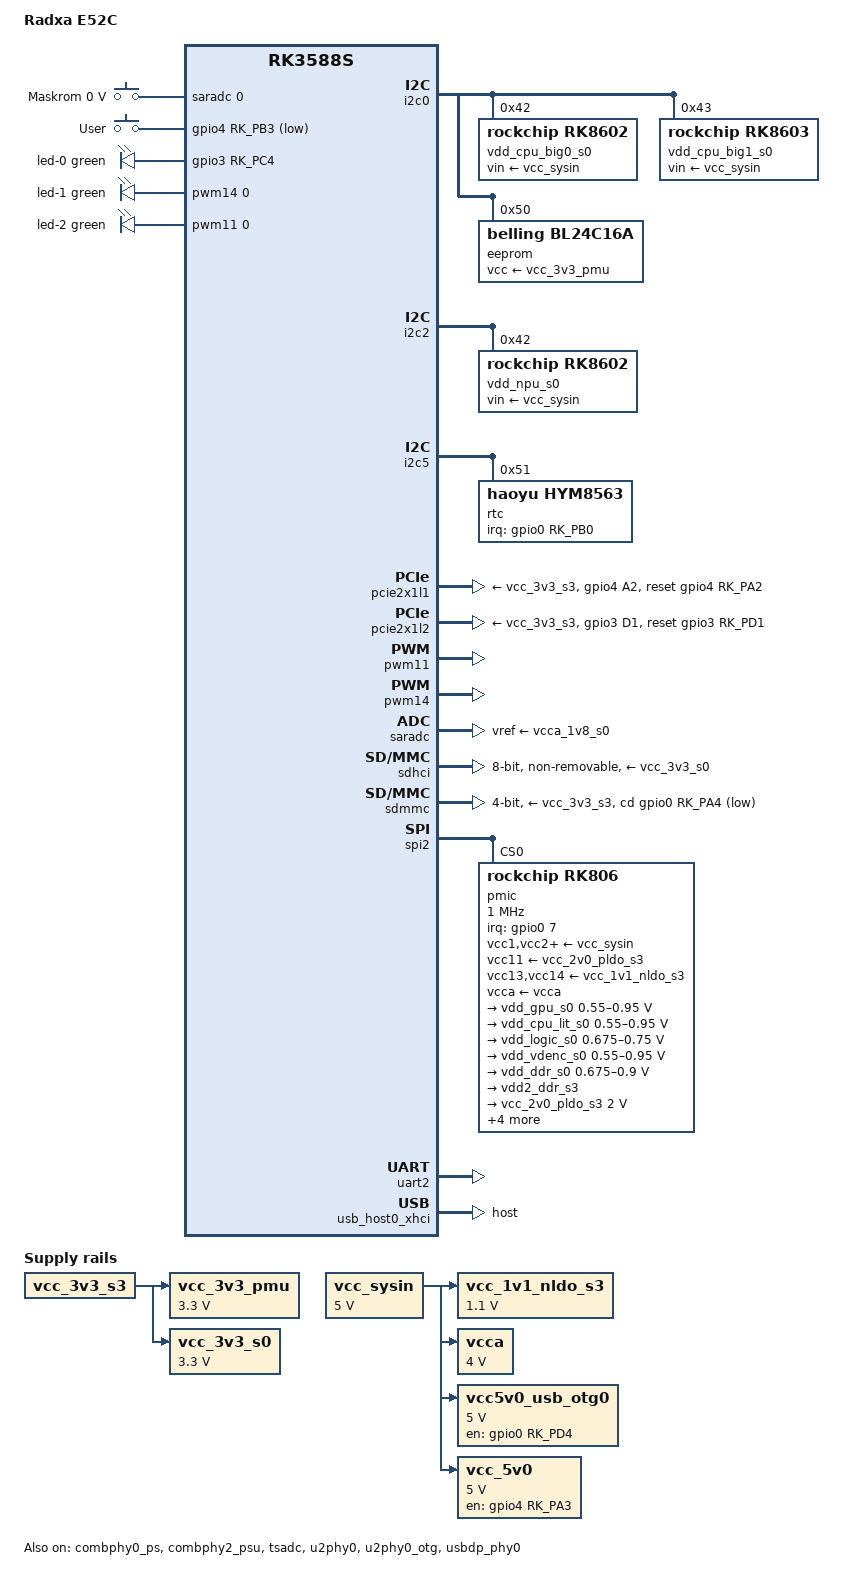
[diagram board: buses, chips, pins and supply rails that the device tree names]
// SPDX-License-Identifier: (GPL-2.0+ OR MIT)
/*
 * Copyright (c) 2024 Radxa Computer (Shenzhen) Co., Ltd.
 */

/dts-v1/;

#include <dt-bindings/gpio/gpio.h>
#include <dt-bindings/input/input.h>
#include <dt-bindings/leds/common.h>
#include <dt-bindings/pinctrl/rockchip.h>
#include <dt-bindings/pwm/pwm.h>
#include "rk3588s.dtsi"

/ {
	model = "Radxa E52C";
	compatible = "radxa,e52c", "rockchip,rk3582", "rockchip,rk3588s";

	aliases {
		mmc0 = &sdhci;
		mmc1 = &sdmmc;
	};

	chosen {
		stdout-path = "serial2:1500000n8";
	};

	keys-0 {
		compatible = "adc-keys";
		io-channels = <&saradc 0>;
		io-channel-names = "buttons";
		keyup-threshold-microvolt = <18000>;
		poll-interval = <100>;

		button-0 {
			label = "Maskrom";
			linux,code = <KEY_VENDOR>;
			press-threshold-microvolt = <0>;
		};
	};

	keys-1 {
		compatible = "gpio-keys";
		pinctrl-names = "default";
		pinctrl-0 = <&btn_0>;

		button-1 {
			label = "User";
			gpios = <&gpio4 RK_PB3 GPIO_ACTIVE_LOW>;
			linux,code = <BTN_0>;
			wakeup-source;
		};
	};

	leds-0 {
		compatible = "gpio-leds";
		pinctrl-names = "default";
		pinctrl-0 = <&led_0>;

		led-0 {
			color = <LED_COLOR_ID_GREEN>;
			default-state = "on";
			function = LED_FUNCTION_STATUS;
			gpios = <&gpio3 RK_PC4 GPIO_ACTIVE_HIGH>;
			linux,default-trigger = "heartbeat";
		};
	};

	leds-1 {
		compatible = "pwm-leds";

		led-1 {
			color = <LED_COLOR_ID_GREEN>;
			default-state = "on";
			function = LED_FUNCTION_LAN;
			linux,default-trigger = "netdev";
			pwms = <&pwm14 0 1000000 PWM_POLARITY_INVERTED>;
			max-brightness = <255>;
		};

		led-2 {
			color = <LED_COLOR_ID_GREEN>;
			default-state = "on";
			function = LED_FUNCTION_WAN;
			linux,default-trigger = "netdev";
			pwms = <&pwm11 0 1000000 PWM_POLARITY_INVERTED>;
			max-brightness = <255>;
		};
	};

	vcc_1v1_nldo_s3: regulator-1v1 {
		compatible = "regulator-fixed";
		regulator-name = "vcc_1v1_nldo_s3";
		regulator-always-on;
		regulator-boot-on;
		regulator-min-microvolt = <1100000>;
		regulator-max-microvolt = <1100000>;
		vin-supply = <&vcc_sysin>;
	};

	vcc_3v3_pmu: regulator-3v3-0 {
		compatible = "regulator-fixed";
		regulator-name = "vcc_3v3_pmu";
		regulator-always-on;
		regulator-boot-on;
		regulator-min-microvolt = <3300000>;
		regulator-max-microvolt = <3300000>;
		vin-supply = <&vcc_3v3_s3>;
	};

	vcc_3v3_s0: regulator-3v3-1 {
		compatible = "regulator-fixed";
		regulator-name = "vcc_3v3_s0";
		regulator-always-on;
		regulator-boot-on;
		regulator-min-microvolt = <3300000>;
		regulator-max-microvolt = <3300000>;
		vin-supply = <&vcc_3v3_s3>;
	};

	vcca: regulator-4v0 {
		compatible = "regulator-fixed";
		regulator-name = "vcca";
		regulator-always-on;
		regulator-boot-on;
		regulator-min-microvolt = <4000000>;
		regulator-max-microvolt = <4000000>;
		vin-supply = <&vcc_sysin>;
	};

	vcc5v0_usb_otg0: regulator-5v0-0 {
		compatible = "regulator-fixed";
		enable-active-high;
		gpio = <&gpio0 RK_PD4 GPIO_ACTIVE_HIGH>;
		pinctrl-names = "default";
		pinctrl-0 = <&usb_otg_pwren_h>;
		regulator-name = "vcc5v0_usb_otg0";
		regulator-min-microvolt = <5000000>;
		regulator-max-microvolt = <5000000>;
		vin-supply = <&vcc_sysin>;
	};

	vcc_5v0: regulator-5v0-1 {
		compatible = "regulator-fixed";
		enable-active-high;
		gpio = <&gpio4 RK_PA3 GPIO_ACTIVE_HIGH>;
		pinctrl-names = "default";
		pinctrl-0 = <&vcc_5v0_pwren_h>;
		regulator-name = "vcc_5v0";
		regulator-min-microvolt = <5000000>;
		regulator-max-microvolt = <5000000>;
		vin-supply = <&vcc_sysin>;
	};

	vcc_sysin: regulator-5v0-2 {
		compatible = "regulator-fixed";
		regulator-name = "vcc_sysin";
		regulator-always-on;
		regulator-boot-on;
		regulator-min-microvolt = <5000000>;
		regulator-max-microvolt = <5000000>;
	};
};

&combphy0_ps {
	status = "okay";
};

&combphy2_psu {
	status = "okay";
};

/*
 * In the Rockchip RK3582 SoC, some CPU cores end up disabled
 * and unused because they're marked in the efuses as defective.
 * The disabling in the DT is performed by the boot loader.
 */
&cpu_b0 {
	cpu-supply = <&vdd_cpu_big0_s0>;
};

&cpu_b1 {
	cpu-supply = <&vdd_cpu_big0_s0>;
};

&cpu_b2 {
	cpu-supply = <&vdd_cpu_big1_s0>;
};

&cpu_b3 {
	cpu-supply = <&vdd_cpu_big1_s0>;
};

&cpu_l0 {
	cpu-supply = <&vdd_cpu_lit_s0>;
};

&cpu_l1 {
	cpu-supply = <&vdd_cpu_lit_s0>;
};

&cpu_l2 {
	cpu-supply = <&vdd_cpu_lit_s0>;
};

&cpu_l3 {
	cpu-supply = <&vdd_cpu_lit_s0>;
};

&i2c0 {
	pinctrl-names = "default";
	pinctrl-0 = <&i2c0m2_xfer>;
	status = "okay";

	vdd_cpu_big0_s0: regulator@42 {
		compatible = "rockchip,rk8602";
		reg = <0x42>;
		fcs,suspend-voltage-selector = <1>;
		regulator-name = "vdd_cpu_big0_s0";
		regulator-always-on;
		regulator-boot-on;
		regulator-min-microvolt = <550000>;
		regulator-max-microvolt = <1050000>;
		regulator-ramp-delay = <2300>;
		vin-supply = <&vcc_sysin>;

		regulator-state-mem {
			regulator-off-in-suspend;
		};
	};

	vdd_cpu_big1_s0: regulator@43 {
		compatible = "rockchip,rk8603", "rockchip,rk8602";
		reg = <0x43>;
		fcs,suspend-voltage-selector = <1>;
		regulator-name = "vdd_cpu_big1_s0";
		regulator-always-on;
		regulator-boot-on;
		regulator-min-microvolt = <550000>;
		regulator-max-microvolt = <1050000>;
		regulator-ramp-delay = <2300>;
		vin-supply = <&vcc_sysin>;

		regulator-state-mem {
			regulator-off-in-suspend;
		};
	};

	eeprom@50 {
		compatible = "belling,bl24c16a", "atmel,24c16";
		reg = <0x50>;
		pagesize = <16>;
		vcc-supply = <&vcc_3v3_pmu>;
	};
};

&i2c2 {
	status = "okay";

	vdd_npu_s0: regulator@42 {
		compatible = "rockchip,rk8602";
		reg = <0x42>;
		fcs,suspend-voltage-selector = <1>;
		regulator-name = "vdd_npu_s0";
		regulator-always-on;
		regulator-boot-on;
		regulator-min-microvolt = <550000>;
		regulator-max-microvolt = <950000>;
		regulator-ramp-delay = <2300>;
		vin-supply = <&vcc_sysin>;

		regulator-state-mem {
			regulator-off-in-suspend;
		};
	};
};

&i2c5 {
	pinctrl-names = "default";
	pinctrl-0 = <&i2c5m2_xfer>;
	status = "okay";

	rtc@51 {
		compatible = "haoyu,hym8563";
		reg = <0x51>;
		#clock-cells = <0>;
		clock-output-names = "rtcic_32kout";
		interrupt-parent = <&gpio0>;
		interrupts = <RK_PB0 IRQ_TYPE_LEVEL_LOW>;
		pinctrl-names = "default";
		pinctrl-0 = <&rtc_int_l>;
		wakeup-source;
	};
};

&pcie2x1l1 {
	pinctrl-names = "default";
	pinctrl-0 = <&pcie20x1_1_perstn_m1>;
	reset-gpios = <&gpio4 RK_PA2 GPIO_ACTIVE_HIGH>;
	vpcie3v3-supply = <&vcc_3v3_s3>;
	status = "okay";
};

&pcie2x1l2 {
	pinctrl-names = "default";
	pinctrl-0 = <&pcie20x1_2_perstn_m0>;
	reset-gpios = <&gpio3 RK_PD1 GPIO_ACTIVE_HIGH>;
	vpcie3v3-supply = <&vcc_3v3_s3>;
	status = "okay";
};

&pinctrl {
	keys {
		btn_0: button-0 {
			rockchip,pins = <4 RK_PB3 RK_FUNC_GPIO &pcfg_pull_none>;
		};
	};

	leds {
		led_0: led-0 {
			rockchip,pins = <3 RK_PC4 RK_FUNC_GPIO &pcfg_pull_none>;
		};
	};

	pcie {
		pcie20x1_1_perstn_m1: pcie-1 {
			rockchip,pins = <4 RK_PA2 RK_FUNC_GPIO &pcfg_pull_none>;
		};

		pcie20x1_2_perstn_m0: pcie-2 {
			rockchip,pins = <3 RK_PD1 RK_FUNC_GPIO &pcfg_pull_none>;
		};
	};

	regulators {
		vcc_5v0_pwren_h: regulator-5v0-1 {
			rockchip,pins = <4 RK_PA3 RK_FUNC_GPIO &pcfg_pull_none>;
		};
	};

	rtc {
		rtc_int_l: rtc-0 {
			rockchip,pins = <0 RK_PB0 RK_FUNC_GPIO &pcfg_pull_none>;
		};
	};

	usb {
		usb_otg_pwren_h: regulator-5v0-0 {
			rockchip,pins = <0 RK_PD4 RK_FUNC_GPIO &pcfg_pull_none>;
		};
	};
};

&pwm11 {
	pinctrl-names = "default";
	pinctrl-0 = <&pwm11m1_pins>;
	status = "okay";
};

&pwm14 {
	pinctrl-names = "default";
	pinctrl-0 = <&pwm14m1_pins>;
	status = "okay";
};

&saradc {
	vref-supply = <&vcca_1v8_s0>;
	status = "okay";
};

&sdhci {
	bus-width = <8>;
	cap-mmc-highspeed;
	mmc-hs400-1_8v;
	mmc-hs400-enhanced-strobe;
	no-sd;
	no-sdio;
	non-removable;
	vmmc-supply = <&vcc_3v3_s0>;
	vqmmc-supply = <&vcc_1v8_s3>;
	status = "okay";
};

&sdmmc {
	bus-width = <4>;
	cap-mmc-highspeed;
	cap-sd-highspeed;
	cd-gpios = <&gpio0 RK_PA4 GPIO_ACTIVE_LOW>;
	disable-wp;
	no-sdio;
	sd-uhs-sdr104;
	vmmc-supply = <&vcc_3v3_s3>;
	vqmmc-supply = <&vccio_sd_s0>;
	status = "okay";
};

&spi2 {
	status = "okay";
	assigned-clocks = <&cru CLK_SPI2>;
	assigned-clock-rates = <200000000>;
	num-cs = <1>;
	pinctrl-names = "default";
	pinctrl-0 = <&spi2m2_cs0 &spi2m2_pins>;

	pmic@0 {
		compatible = "rockchip,rk806";
		reg = <0>;
		gpio-controller;
		#gpio-cells = <2>;
		interrupt-parent = <&gpio0>;
		interrupts = <7 IRQ_TYPE_LEVEL_LOW>;
		pinctrl-names = "default";
		pinctrl-0 = <&pmic_pins>, <&rk806_dvs1_null>,
			    <&rk806_dvs2_null>, <&rk806_dvs3_null>;
		spi-max-frequency = <1000000>;
		system-power-controller;

		vcc1-supply = <&vcc_sysin>;
		vcc2-supply = <&vcc_sysin>;
		vcc3-supply = <&vcc_sysin>;
		vcc4-supply = <&vcc_sysin>;
		vcc5-supply = <&vcc_sysin>;
		vcc6-supply = <&vcc_sysin>;
		vcc7-supply = <&vcc_sysin>;
		vcc8-supply = <&vcc_sysin>;
		vcc9-supply = <&vcc_sysin>;
		vcc10-supply = <&vcc_sysin>;
		vcc11-supply = <&vcc_2v0_pldo_s3>;
		vcc12-supply = <&vcc_sysin>;
		vcc13-supply = <&vcc_1v1_nldo_s3>;
		vcc14-supply = <&vcc_1v1_nldo_s3>;
		vcca-supply = <&vcca>;

		rk806_dvs1_null: dvs1-null-pins {
			pins = "gpio_pwrctrl1";
			function = "pin_fun0";
		};

		rk806_dvs2_null: dvs2-null-pins {
			pins = "gpio_pwrctrl2";
			function = "pin_fun0";
		};

		rk806_dvs3_null: dvs3-null-pins {
			pins = "gpio_pwrctrl3";
			function = "pin_fun0";
		};

		regulators {
			vdd_gpu_s0: dcdc-reg1 {
				regulator-name = "vdd_gpu_s0";
				regulator-boot-on;
				regulator-min-microvolt = <550000>;
				regulator-max-microvolt = <950000>;
				regulator-ramp-delay = <12500>;
				regulator-enable-ramp-delay = <400>;

				regulator-state-mem {
					regulator-off-in-suspend;
				};
			};

			vdd_cpu_lit_s0: dcdc-reg2 {
				regulator-name = "vdd_cpu_lit_s0";
				regulator-always-on;
				regulator-boot-on;
				regulator-min-microvolt = <550000>;
				regulator-max-microvolt = <950000>;
				regulator-ramp-delay = <12500>;

				regulator-state-mem {
					regulator-off-in-suspend;
				};
			};

			vdd_logic_s0: dcdc-reg3 {
				regulator-name = "vdd_logic_s0";
				regulator-always-on;
				regulator-boot-on;
				regulator-min-microvolt = <675000>;
				regulator-max-microvolt = <750000>;
				regulator-ramp-delay = <12500>;

				regulator-state-mem {
					regulator-on-in-suspend;
					regulator-suspend-microvolt = <750000>;
				};
			};

			vdd_vdenc_s0: dcdc-reg4 {
				regulator-name = "vdd_vdenc_s0";
				regulator-always-on;
				regulator-boot-on;
				regulator-min-microvolt = <550000>;
				regulator-max-microvolt = <950000>;
				regulator-ramp-delay = <12500>;

				regulator-state-mem {
					regulator-off-in-suspend;
				};
			};

			vdd_ddr_s0: dcdc-reg5 {
				regulator-name = "vdd_ddr_s0";
				regulator-always-on;
				regulator-boot-on;
				regulator-min-microvolt = <675000>;
				regulator-max-microvolt = <900000>;
				regulator-ramp-delay = <12500>;

				regulator-state-mem {
					regulator-off-in-suspend;
					regulator-suspend-microvolt = <850000>;
				};
			};

			vdd2_ddr_s3: dcdc-reg6 {
				regulator-name = "vdd2_ddr_s3";
				regulator-always-on;
				regulator-boot-on;

				regulator-state-mem {
					regulator-on-in-suspend;
				};
			};

			vcc_2v0_pldo_s3: dcdc-reg7 {
				regulator-name = "vcc_2v0_pldo_s3";
				regulator-always-on;
				regulator-boot-on;
				regulator-min-microvolt = <2000000>;
				regulator-max-microvolt = <2000000>;

				regulator-state-mem {
					regulator-on-in-suspend;
					regulator-suspend-microvolt = <2000000>;
				};
			};

			vcc_3v3_s3: dcdc-reg8 {
				regulator-name = "vcc_3v3_s3";
				regulator-always-on;
				regulator-boot-on;
				regulator-min-microvolt = <3300000>;
				regulator-max-microvolt = <3300000>;

				regulator-state-mem {
					regulator-on-in-suspend;
					regulator-suspend-microvolt = <3300000>;
				};
			};

			vddq_ddr_s0: dcdc-reg9 {
				regulator-name = "vddq_ddr_s0";
				regulator-always-on;
				regulator-boot-on;

				regulator-state-mem {
					regulator-off-in-suspend;
				};
			};

			vcc_1v8_s3: dcdc-reg10 {
				regulator-name = "vcc_1v8_s3";
				regulator-always-on;
				regulator-boot-on;
				regulator-min-microvolt = <1800000>;
				regulator-max-microvolt = <1800000>;

				regulator-state-mem {
					regulator-on-in-suspend;
					regulator-suspend-microvolt = <1800000>;
				};
			};

			vcc_1v8_s0: pldo-reg1 {
				regulator-name = "vcc_1v8_s0";
				regulator-always-on;
				regulator-boot-on;
				regulator-min-microvolt = <1800000>;
				regulator-max-microvolt = <1800000>;

				regulator-state-mem {
					regulator-on-in-suspend;
					regulator-suspend-microvolt = <1800000>;
				};
			};

			vcca_1v8_s0: pldo-reg2 {
				regulator-name = "vcca_1v8_s0";
				regulator-always-on;
				regulator-boot-on;
				regulator-min-microvolt = <1800000>;
				regulator-max-microvolt = <1800000>;

				regulator-state-mem {
					regulator-on-in-suspend;
					regulator-suspend-microvolt = <1800000>;
				};
			};

			vdda_1v2_s0: pldo-reg3 {
				regulator-name = "vdda_1v2_s0";
				regulator-always-on;
				regulator-boot-on;
				regulator-min-microvolt = <1200000>;
				regulator-max-microvolt = <1200000>;

				regulator-state-mem {
					regulator-off-in-suspend;
				};
			};

			vcca_3v3_s0: pldo-reg4 {
				regulator-name = "vcca_3v3_s0";
				regulator-always-on;
				regulator-boot-on;
				regulator-min-microvolt = <3300000>;
				regulator-max-microvolt = <3300000>;

				regulator-state-mem {
					regulator-on-in-suspend;
					regulator-suspend-microvolt = <3300000>;
				};
			};

			vccio_sd_s0: pldo-reg5 {
				regulator-name = "vccio_sd_s0";
				regulator-always-on;
				regulator-boot-on;
				regulator-min-microvolt = <1800000>;
				regulator-max-microvolt = <3300000>;

				regulator-state-mem {
					regulator-off-in-suspend;
				};
			};

			pldo6_s3: pldo-reg6 {
				regulator-name = "pldo6_s3";
				regulator-always-on;
				regulator-boot-on;
				regulator-min-microvolt = <1800000>;
				regulator-max-microvolt = <1800000>;

				regulator-state-mem {
					regulator-on-in-suspend;
					regulator-suspend-microvolt = <1800000>;
				};
			};

			vdd_0v75_s3: nldo-reg1 {
				regulator-name = "vdd_0v75_s3";
				regulator-always-on;
				regulator-boot-on;
				regulator-min-microvolt = <750000>;
				regulator-max-microvolt = <750000>;

				regulator-state-mem {
					regulator-on-in-suspend;
					regulator-suspend-microvolt = <750000>;
				};
			};

			vdda_ddr_pll_s0: nldo-reg2 {
				regulator-name = "vdda_ddr_pll_s0";
				regulator-always-on;
				regulator-boot-on;
				regulator-min-microvolt = <850000>;
				regulator-max-microvolt = <850000>;

				regulator-state-mem {
					regulator-on-in-suspend;
					regulator-suspend-microvolt = <850000>;
				};
			};

			vdda_0v75_s0: nldo-reg3 {
				regulator-name = "vdda_0v75_s0";
				regulator-always-on;
				regulator-boot-on;
				regulator-min-microvolt = <750000>;
				regulator-max-microvolt = <750000>;

				regulator-state-mem {
					regulator-on-in-suspend;
					regulator-suspend-microvolt = <750000>;
				};
			};

			vdda_0v85_s0: nldo-reg4 {
				regulator-name = "vdda_0v85_s0";
				regulator-always-on;
				regulator-boot-on;
				regulator-min-microvolt = <850000>;
				regulator-max-microvolt = <850000>;

				regulator-state-mem {
					regulator-off-in-suspend;
				};
			};

			vdd_0v75_s0: nldo-reg5 {
				regulator-name = "vdd_0v75_s0";
				regulator-always-on;
				regulator-boot-on;
				regulator-min-microvolt = <750000>;
				regulator-max-microvolt = <750000>;

				regulator-state-mem {
					regulator-off-in-suspend;
				};
			};
		};
	};
};

&tsadc {
	status = "okay";
};

&u2phy0 {
	status = "okay";
};

&u2phy0_otg {
	phy-supply = <&vcc5v0_usb_otg0>;
	status = "okay";
};

&uart2 {
	pinctrl-0 = <&uart2m0_xfer>;
	status = "okay";
};

&usb_host0_xhci {
	dr_mode = "host";
	status = "okay";
};

&usbdp_phy0 {
	status = "okay";
};
